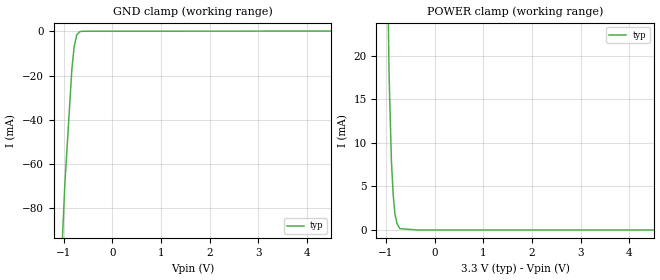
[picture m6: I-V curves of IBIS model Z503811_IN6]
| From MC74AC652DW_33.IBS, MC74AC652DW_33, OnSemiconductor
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| (C) COPYRIGHT 1993-2000
| MENTOR GRAPHICS CORPORATION
| ICX STANDARD LIBRARY, ICX PROJECT MODELING,
| ICX CUSTOM MODELING, ICX VENDOR MODEL
| ALL RIGHTS RESERVED.
| THE FOLLOWING ARE TRADEMARKS OR SERVICE MARKS OF
| MENTOR GRAPHICS CORPORATION:ICX (R), ICX STANDARD
| LIBRARY(R), ICX PROJECT MODELING(R), ICX CUSTOM
| MODELING(R), qualityIBIS(TM), MODELVIEWER(TM),
| AND MODELEDITOR(TM)
| ALL COPIES OF SOFTWARE, INCLUDING BUT NOT LIMITED TO
| ANY MODIFICATIONS, ENHANCEMENTS OR DERIVATIVE WORKS,
| MUST CONTAIN ALL MENTOR GRAPHICS CORPORATION'S
| NOTICES AND LEGENDS, INCLUDING THOSE EMBEDDED IN
| SOFTWARE AND THOSE AFFIXED TO SOFTWARE MEDIUM
| AND CONTAINER, AS RECEIVED FROM MENTOR GRAPHICS
| CORPORATION.
| Model Application Version 1.89 2/18/99.
[Model] Z503811_IN6
Model_type Input
Vinl = 990.0mV
Vinh = 2.310V
C_comp 4.000pF NA NA
| variable typ   min   max
[Voltage Range] 3.300V NA NA
[GND Clamp Reference] 0.000V NA NA
[POWER Clamp Reference] 3.300V NA NA
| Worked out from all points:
|   GND clamp passes 1 mA (typ) near -0.70 V on its own axis
|   POWER clamp passes 1 mA (typ) near -0.79 V on its own axis
[GND Clamp]
-3.3V     -1.595A    NA         NA
-1.04V    -102.2mA   NA         NA
-973.2mV  -69.2mA    NA         NA
-829.7mV  -17.24mA   NA         NA
-781.6mV  -6.918mA   NA         NA
-730.4mV  -1.644mA   NA         NA
-667.5mV  -170.1uA   NA         NA
6.6V      131uA      NA         NA
[POWER Clamp]
-3.3V     1.892A     NA         NA
-1.119V   109.7mA    NA         NA
-1.036V   57.37mA    NA         NA
-937mV    17.57mA    NA         NA
-890mV    7.903mA    NA         NA
-854mV    4.078mA    NA         NA
-818mV    1.856mA    NA         NA
-775mV    739.4uA    NA         NA
-717mV    154uA      NA         NA
-358.5mV  0A         NA         NA
6.6V      0A         NA         NA
